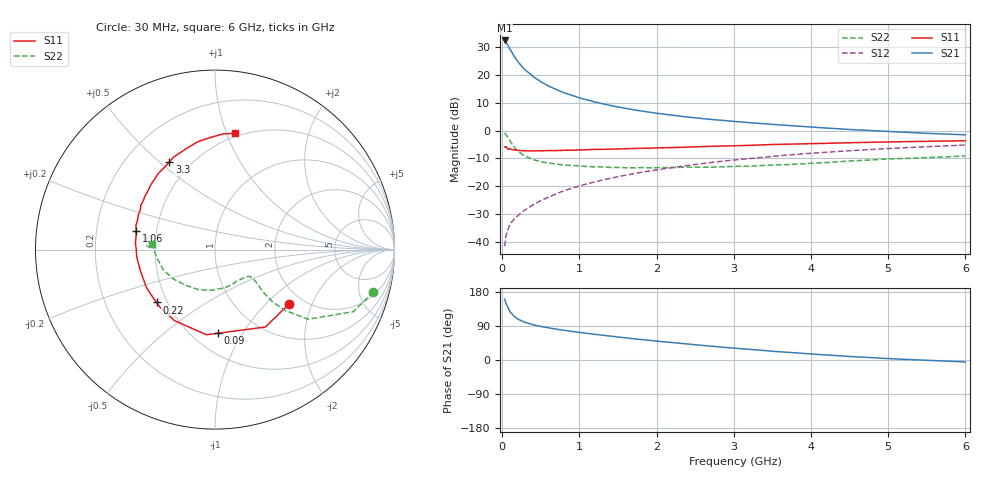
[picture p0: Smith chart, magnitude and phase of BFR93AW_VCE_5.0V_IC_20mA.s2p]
! Infineon Technologies  Discrete & RF Semiconductors
! BFR93AW
! VCE =  5.0 V,  IC =  20 mA
! Common Emitter S-Parameters:  Nov 2015
# GHz  S  MA  R  50
!  f  S11  S21  S12  S22
! GHz  MAG  ANG  MAG  ANG  MAG  ANG  MAG  ANG
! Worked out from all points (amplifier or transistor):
!   206 points, 30 MHz to 6 GHz, reference 50 ohm
!   highest |S21| = 32.5 dB at 30 MHz (marker M1)
!   |S21| within 3 dB of that: start of sweep to 97.1 MHz
!   unconditionally stable (mu >= 1): 560.4 MHz to 2.17 GHz
!   at 200 MHz: K = 0.71, MSG = 27.8 dB, |S12| = -30.7 dB
!   at 1.56 GHz: K = 1.04, MAG = 11.0 dB, |S12| = -16.2 dB
!   at 6 GHz: K = 0.90, MSG = 1.8 dB, |S12| = -5.2 dB
!   S11 on the Smith chart (normalised r, x): 30 MHz: 1.70, -1.39; 90 MHz: 0.66, -0.79; 220 MHz: 0.44, -0.32; 1.06 GHz: 0.38, +0.10; 3.3 GHz: 0.38, +0.54; 6 GHz: 0.47, +1.07
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0.03  0.5127 -36.0  42.28 160.1  0.0083 76.3  0.9139 -15.0
0.05  0.5144 -57.0  39.33 147.4  0.013 69.6  0.8442 -24.2
0.09  0.4662 -87.8  31.09 132.1  0.0192 61.1  0.6839 -33.7
0.1  0.4768 -95.7  29.49 127.1  0.0208 59.8  0.6477 -36.8
0.15  0.4555 -119.6  22.3 115.4  0.0252 59.3  0.5146 -41.0
0.2  0.4438 -133.6  17.7 108.0  0.0292 59.4  0.4333 -42.2
0.22  0.4389 -137.9  16.41 106.1  0.031 59.9  0.4114 -42.0
0.26  0.4357 -145.8  14.08 102.0  0.0346 61.0  0.3718 -41.6
0.3  0.4363 -151.6  12.31 98.8  0.0377 62.6  0.345 -40.9
0.4  0.4322 -162.4  9.395 92.9  0.0463 65.5  0.3011 -38.7
0.5  0.4343 -170.1  7.613 88.4  0.0551 67.8  0.275 -37.6
0.6  0.4379 -175.2  6.379 84.7  0.0637 69.0  0.2605 -36.9
0.7  0.439 179.7  5.512 81.4  0.0731 69.9  0.2511 -37.3
1.04  0.451 167.2  3.771 71.8  0.1048 70.4  0.2295 -41.5
1.06  0.4521 166.6  3.703 71.3  0.1068 70.3  0.2281 -42.1
1.5  0.4696 155.2  2.668 60.7  0.1485 69.0  0.2179 -51.7
2.02  0.4909 142.6  2.045 49.4  0.1991 65.7  0.216 -66.5
3.1  0.539 121.1  1.43 29.8  0.3058 56.7  0.2283 -98.2
3.3  0.5507 117.5  1.362 26.6  0.3256 54.7  0.233 -105.4
4.1  0.589 104.4  1.14 14.5  0.4008 46.4  0.2623 -133.4
5.1  0.6292 90.8  0.955 2.8  0.4851 35.5  0.3124 -161.9
6  0.6572 80.4  0.843 -5.1  0.5521 25.8  0.3509 175.3
